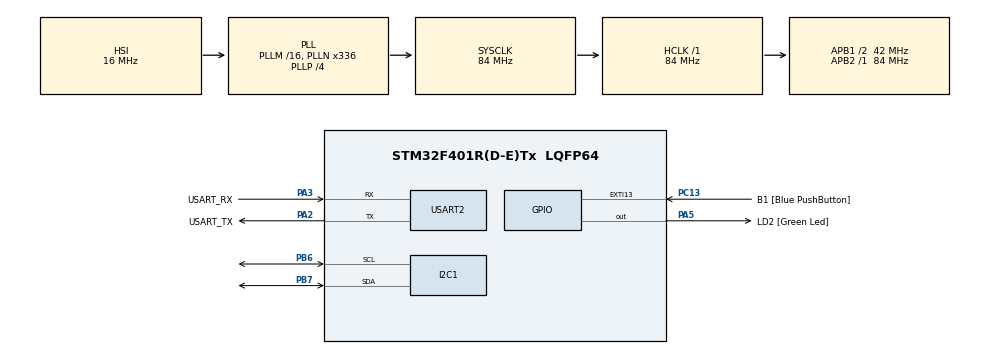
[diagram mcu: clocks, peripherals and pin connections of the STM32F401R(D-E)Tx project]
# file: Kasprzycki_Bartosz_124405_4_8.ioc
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Mcu.Family=STM32F4
Mcu.Name=STM32F401R(D-E)Tx
Mcu.Package=LQFP64
NVIC.EXTI15_10_IRQn=true\:0\:0\:false\:false\:true\:true\:true\:true
NVIC.I2C1_ER_IRQn=true\:0\:0\:false\:false\:true\:true\:true\:true
NVIC.I2C1_EV_IRQn=true\:0\:0\:false\:false\:true\:true\:true\:true
NVIC.PriorityGroup=NVIC_PRIORITYGROUP_4
NVIC.USART2_IRQn=true\:0\:0\:false\:false\:true\:true\:true\:true
PA13.GPIO_Label=TMS
PA13.Mode=Trace_Asynchronous_SW
PA13.Signal=SYS_JTMS-SWDIO
PA14.GPIO_Label=TCK
PA14.Mode=Trace_Asynchronous_SW
PA14.Signal=SYS_JTCK-SWCLK
PA2.GPIO_Label=USART_TX
PA2.GPIO_Mode=GPIO_MODE_AF_PP
PA2.GPIO_PuPd=GPIO_NOPULL
PA2.GPIO_Speed=GPIO_SPEED_FREQ_LOW
PA2.Mode=Asynchronous
PA2.Signal=USART2_TX
PA3.GPIO_Label=USART_RX
PA3.GPIO_Mode=GPIO_MODE_AF_PP
PA3.GPIO_PuPd=GPIO_NOPULL
PA3.GPIO_Speed=GPIO_SPEED_FREQ_LOW
PA3.Mode=Asynchronous
PA3.Signal=USART2_RX
PA5.GPIO_Label=LD2 [Green Led]
PA5.GPIO_Mode=GPIO_MODE_OUTPUT_PP
PA5.GPIO_PuPd=GPIO_NOPULL
PA5.GPIO_Speed=GPIO_SPEED_FREQ_LOW
PA5.Signal=GPIO_Output
PB3.GPIO_Label=SWO
PB3.Mode=Trace_Asynchronous_SW
PB3.Signal=SYS_JTDO-SWO
PB6.Mode=I2C
PB6.Signal=I2C1_SCL
PB7.Mode=I2C
PB7.Signal=I2C1_SDA
PC13-ANTI_TAMP.GPIO_Label=B1 [Blue PushButton]
PC13-ANTI_TAMP.GPIO_ModeDefaultEXTI=GPIO_MODE_IT_FALLING
PC13-ANTI_TAMP.GPIO_PuPd=GPIO_NOPULL
PC13-ANTI_TAMP.Signal=GPXTI13
PC14-OSC32_IN.Mode=LSE-External-Oscillator
PC14-OSC32_IN.Signal=RCC_OSC32_IN
PC15-OSC32_OUT.Mode=LSE-External-Oscillator
PC15-OSC32_OUT.Signal=RCC_OSC32_OUT
PH0\ -\ OSC_IN.Mode=HSE-External-Clock-Source
PH0\ -\ OSC_IN.Signal=RCC_OSC_IN
PH1\ -\ OSC_OUT.Mode=HSE-External-Clock-Source
PH1\ -\ OSC_OUT.Signal=RCC_OSC_OUT
ProjectManager.HeapSize=0x200
ProjectManager.StackSize=0x400
ProjectManager.TargetToolchain=STM32CubeIDE
RCC.48MHZClocksFreq_Value=48000000
RCC.AHBFreq_Value=84000000
RCC.APB1CLKDivider=RCC_HCLK_DIV2
RCC.APB1Freq_Value=42000000
RCC.APB1TimFreq_Value=84000000
RCC.APB2Freq_Value=84000000
RCC.APB2TimFreq_Value=84000000
RCC.CortexFreq_Value=84000000
RCC.HCLKFreq_Value=84000000
RCC.HSE_VALUE=8000000
RCC.HSI_VALUE=16000000
RCC.PLLN=336
RCC.PLLP=RCC_PLLP_DIV4
RCC.PLLQ=7
RCC.SYSCLKFreq_VALUE=84000000
RCC.SYSCLKSource=RCC_SYSCLKSOURCE_PLLCLK
RCC.VCOOutputFreq_Value=336000000
USART2.VirtualMode=VM_ASYNC
board=NUCLEO-F401RE

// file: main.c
/* USER CODE BEGIN Header */
/**
  ******************************************************************************
  * @file           : main.c
  * @brief          : Main program body
  ******************************************************************************
  */
/* USER CODE END Header */
#include "main.h"
#include "i2c.h"
#include "usart.h"
#include "gpio.h"

/* USER CODE BEGIN Includes */
#include <string.h>
#include <stdio.h>
#include <stdarg.h>
#include <stdlib.h>
#include <stdbool.h>
/* USER CODE END Includes */

/* USER CODE BEGIN PTD */

/* Struktura danych pomiarowych zgodna z dokumentacją */
typedef struct __attribute__((packed)){
	uint32_t seq_num;
	uint32_t timestamp;
	int16_t accel[3];
	int16_t gyro[3];
} MeasurementData;

/* Stany parsera protokołu */
typedef enum{
	STATE_WAIT_SOF,
	STATE_ADDR,
	STATE_CMD,
	STATE_DATA,
	STATE_CRC,
	STATE_WAIT_CR,
	STATE_WAIT_LF
} ParserState;

/* Stany inicjalizacji MPU6500 */
typedef enum {
    MPU_INIT_STATE_IDLE,
    MPU_INIT_STATE_START,
    MPU_INIT_STATE_WAIT_PWR,
    MPU_INIT_STATE_WAKEUP,
    MPU_INIT_STATE_WAIT_CONFIG,
    MPU_INIT_STATE_CONFIG,
    MPU_INIT_STATE_READY
} MPU_InitState;

typedef struct {
	ParserState state;
	char buffer[128];
	uint8_t index;
} ProtocolParser;

/* USER CODE END PTD */

/* USER CODE BEGIN PD */

#define MY_DEV_ID "ST"
#define HISTORY_SIZE 1000

/* Adresy rejestrów MPU6500 */
#define MPU_ADDR 0xD0
#define PWR_MGMT_1_REG 0x6B
#define ACCEL_CONFIG_REG 0x1C
#define GYRO_CONFIG_REG 0x1B

#define USART_TXBUF_LEN 1512
#define USART_RXBUF_LEN 128

/* USER CODE END PD */

/* USER CODE BEGIN PV */

/* Bufory UART */
uint8_t USART_TxBuf[USART_TXBUF_LEN];
uint8_t USART_RxBuf[USART_RXBUF_LEN];

__IO int USART_TX_Empty=0;
__IO int USART_TX_Busy=0;
__IO int USART_RX_Empty=0;
__IO int USART_RX_Busy=0;

/* Bufor cykliczny pomiarów  */
MeasurementData history_buffer[HISTORY_SIZE];
__IO uint32_t head_idx = 0;
uint32_t current_seq = 0;

/* Zmienne sterujące akwizycją */
bool acquisition_running = false;
uint32_t acquisition_interval = 1000; // Domyślnie 1000ms
uint32_t last_acq_time = 0;

char last_sender_id[3] = "PC";

/* Bufor na surowe dane z I2C (14 bajtów: Accel, Temp, Gyro) */
uint8_t mpu_raw_data[14];

ProtocolParser parser = {.state = STATE_WAIT_SOF, .index =0};

MPU_InitState mpu_init_state = MPU_INIT_STATE_START;
uint32_t mpu_timer = 0;

/* USER CODE END PV */

void SystemClock_Config(void);
/* USER CODE BEGIN PFP */

uint8_t MX_USART2_UART_kbhit(void);
int16_t MX_USART2_UART_getchar(void);
uint8_t MX_USART2_UART_getline(char *buf);
void MX_USART2_UART_fsend(char* format,...);

void MPU6500_Maintain(void);
void MPU6500_StartRead(void);

void ProcessCommand(char* frame,int len);
uint16_t CalcCRC16(const char* data, int len);
void HexToBin(const char* hex, uint8_t* bin, int len);
void BinToHex(const uint8_t* bin, char* hex, int len);
bool IsValidHex(const char* str, int len);
void SendResponse(const char* cmd_code, const char* payload);
void FSM_ProcessByte(uint8_t byte);

/* USER CODE END PFP */

/* USER CODE BEGIN 0 */

/* --- Implementacja UART (Ring Buffer) --- */

uint8_t MX_USART2_UART_kbhit(){
	if(USART_RX_Empty == USART_RX_Busy){
		return 0;
	}else{
		return 1;
	}
}

int16_t MX_USART2_UART_getchar(){
	int16_t temp;
	if(USART_RX_Empty != USART_RX_Busy){
		temp=USART_RxBuf[USART_RX_Busy];
		USART_RX_Busy++;
		if(USART_RX_Busy >= USART_RXBUF_LEN){
			USART_RX_Busy=0;
		}
		return temp;
	}else{
		return -1;
	}
}

uint8_t MX_USART2_UART_getline(char* buf){
	static uint8_t bf[128];
	static uint8_t idx=0;
	int i;
	uint8_t ret;

	while(MX_USART2_UART_kbhit()){
		bf[idx] = MX_USART2_UART_getchar();

		if(((bf[idx]=='\r')||(bf[idx]=='\n'))){
			bf[idx] = 0;
			for(i=0; i<=idx; i++){
				buf[i]=bf[i];
			}
			ret=idx;
			idx=0;
			return ret;
		}else{
			idx++;
			if(idx >=128) {
				idx=0;
			}
		}
	}
    return 0;
}

void MX_USART2_UART_fsend(char* format, ...){
	char tmp_rs[128];
	int i;
	__IO int idx;
	va_list arglist;
    va_start(arglist,format);
    vsprintf(tmp_rs,format,arglist);
    va_end(arglist);

    idx=USART_TX_Empty;
    for(i=0;i<strlen(tmp_rs);i++){
    	USART_TxBuf[idx]=tmp_rs[i];
    	idx++;
    	if(idx >= USART_TXBUF_LEN)idx=0;
    }

    __disable_irq();
    if((USART_TX_Empty==USART_TX_Busy)&&(__HAL_UART_GET_FLAG(&huart2,UART_FLAG_TXE)==SET)){
    	USART_TX_Empty=idx;
    	uint8_t tmp=USART_TxBuf[USART_TX_Busy];
    	USART_TX_Busy++;
    	if(USART_TX_Busy >= USART_TXBUF_LEN)USART_TX_Busy=0;
    	HAL_UART_Transmit_IT(&huart2, &tmp, 1);
    }else{
    	USART_TX_Empty=idx;
    }
    __enable_irq();
}

void HAL_UART_TxCpltCallback(UART_HandleTypeDef *huart){
	if(huart==&huart2){
		if(USART_TX_Empty!=USART_TX_Busy){
			uint8_t tmp=USART_TxBuf[USART_TX_Busy];

			USART_TX_Busy++;
			if(USART_TX_Busy >= USART_TXBUF_LEN) USART_TX_Busy=0;

            HAL_UART_Transmit_IT(&huart2, &tmp, 1);
        }
    }
}

void HAL_UART_RxCpltCallback(UART_HandleTypeDef *huart){
	if(huart==&huart2){
		USART_RX_Empty++;

		if(USART_RX_Empty>=USART_RXBUF_LEN) USART_RX_Empty=0;

		HAL_UART_Receive_IT(&huart2,&USART_RxBuf[USART_RX_Empty],1);
	}
}

/* --- Implementacja MPU6500 (Non-blocking I2C) --- */

/**
Maszyna stanów inicjalizacji MPU6500.
Wybudza układ i przygotowuje do pracy nie blokując CPU.
 */
void MPU6500_Maintain(void) {
    static uint8_t i2c_data = 0;

    switch (mpu_init_state) {
        case MPU_INIT_STATE_IDLE:
            break;

        case MPU_INIT_STATE_START:
            mpu_timer = HAL_GetTick();
            mpu_init_state = MPU_INIT_STATE_WAIT_PWR;
            break;

        case MPU_INIT_STATE_WAIT_PWR:
            // Czekaj 100ms na stabilizację zasilania
            if (HAL_GetTick() - mpu_timer > 100) {
                mpu_init_state = MPU_INIT_STATE_WAKEUP;
            }
            break;

        case MPU_INIT_STATE_WAKEUP:
            if (HAL_I2C_GetState(&hi2c1) == HAL_I2C_STATE_READY) {
                // Wybudzenie: PWR_MGMT_1 = 0x00
                i2c_data = 0x00;
                HAL_I2C_Mem_Write_IT(&hi2c1, MPU_ADDR, PWR_MGMT_1_REG, 1, &i2c_data, 1);
                mpu_timer = HAL_GetTick();
                mpu_init_state = MPU_INIT_STATE_WAIT_CONFIG;
            }
            break;

        case MPU_INIT_STATE_WAIT_CONFIG:
            // Czekaj 10ms po wybudzeniu
            if (HAL_GetTick() - mpu_timer > 10) {
                mpu_init_state = MPU_INIT_STATE_CONFIG;
            }
            break;

        case MPU_INIT_STATE_CONFIG:
             if (HAL_I2C_GetState(&hi2c1) == HAL_I2C_STATE_READY) {
                 mpu_init_state = MPU_INIT_STATE_READY;
             }
             break;

        case MPU_INIT_STATE_READY:
            // Urządzenie gotowe do pracy
            mpu_init_state = MPU_INIT_STATE_IDLE;
            break;
    }
}

void MPU6500_StartRead(void) {
	// Rozpocznij odczyt 14 bajtów od rejestru ACCEL_XOUT_H (0x3B)
    //  - Funkcje nie blokujące
	if (HAL_I2C_GetState(&hi2c1) == HAL_I2C_STATE_READY) {
		uint8_t reg = 0x3B;
		HAL_I2C_Mem_Read_IT(&hi2c1, MPU_ADDR, reg, 1, mpu_raw_data, 14);
	}
}

/* Callback wywoływany po zakończeniu transmisji I2C (odebranie danych) */
void HAL_I2C_MemRxCpltCallback(I2C_HandleTypeDef *hi2c){
	if (hi2c->Instance == I2C1){
		// Zapis do bufora cyklicznego
		MeasurementData *m = &history_buffer[head_idx];

		m->seq_num = current_seq++;
		m->timestamp = HAL_GetTick();

		// Konwersja surowych danych (Big Endian z czujnika na Little Endian CPU)
		m->accel[0] = (int16_t)((mpu_raw_data[0] << 8) | mpu_raw_data[1]);
		m->accel[1] = (int16_t)((mpu_raw_data[2] << 8) | mpu_raw_data[3]);
		m->accel[2] = (int16_t)((mpu_raw_data[4] << 8) | mpu_raw_data[5]);

		m->gyro[0] = (int16_t)((mpu_raw_data[8] << 8) | mpu_raw_data[9]);
		m->gyro[1] = (int16_t)((mpu_raw_data[10] << 8) | mpu_raw_data[11]);
		m->gyro[2] = (int16_t)((mpu_raw_data[12] << 8) | mpu_raw_data[13]);

		head_idx++;
		if (head_idx >= HISTORY_SIZE) {
			head_idx = 0;
		}
	}
}

/* --- Logika Protokołu --- */

void FSM_ProcessByte(uint8_t byte){
	if (parser.index >= 127){
		parser.state = STATE_WAIT_SOF;
		parser.index = 0;
	}

	if (byte == '$'){
		parser.index = 0;
		parser.buffer[parser.index++] = byte;
		parser.state = STATE_ADDR;
        return;
	}

	switch (parser.state){
		case STATE_WAIT_SOF:
			break;

		case STATE_ADDR:
			parser.buffer[parser.index++] =  byte;
			if (parser.index == 5){
				parser.state = STATE_CMD;
			}
			break;

		case STATE_CMD:
			parser.buffer[parser.index++] =  byte;
			if (parser.index == 7){
				parser.state = STATE_DATA;
			}
			break;

		case STATE_DATA:
			parser.buffer[parser.index++] =  byte;
			if (byte == ':'){
				parser.state = STATE_CRC;
			}
			break;

		case STATE_CRC:
			parser.buffer[parser.index++] = byte;
			// CRC ma zawsze 4 znaki Hex
			if(parser.index >= 5 && parser.buffer[parser.index - 5]==':'){
				parser.state = STATE_WAIT_CR;
			}
			break;

		case STATE_WAIT_CR:
			if (byte == '\r'){
				parser.state = STATE_WAIT_LF;
			} else {
				parser.state = STATE_WAIT_SOF;
			}
			break;

		case STATE_WAIT_LF:
			if(byte == '\n'){
				parser.buffer[parser.index] = '\0';
				ProcessCommand(parser.buffer, parser.index);
				parser.state = STATE_WAIT_SOF;
				parser.index = 0;
			} else{
				parser.state = STATE_WAIT_SOF;
			}
			break;

		default:
			parser.state = STATE_WAIT_SOF;
			break;

	}
}

/* Helpers */
bool IsValidHex(const char* str, int len) {
    for (int i = 0; i < len; i++) {
        char c = str[i];
        bool isDigit = (c >= '0' && c <= '9');
        bool isLetter = (c >= 'A' && c <= 'F');
        if (!(isDigit || isLetter)) {
        	return false;
        }
    }
    return true;
}

uint16_t CalcCRC16(const char* data, int len){
    // CRC-16-CCITT False, Poly 0x1021, Init 0xFFFF
	uint16_t crc = 0xFFFF;
	for (int i = 0; i < len; i++){
		crc ^= (uint16_t)data[i] << 8;
		for (int j = 0; j < 8; j++){
			if (crc & 0x8000) crc = (crc << 1) ^ 0x1021;
			else crc <<=1;
		}
	}
	return crc;
}

void HexToBin(const char* hex, uint8_t* bin, int len){
	char temp[3] = {0};
	for(int i=0; i<len; i++){
		temp[0] = hex[i*2];
		temp[1] = hex[i*2+1];
		bin[i] = (uint8_t)strtol(temp,NULL,16);
	}
}

void BinToHex(const uint8_t* bin,char* hex , int len){
	for(int i=0; i<len; i++){
		sprintf(hex + (i*2), "%02X",bin[i]);
	}
}

void SendResponse(const char* cmd_code, const char* payload){
	char frame_buf[128];
	sprintf(frame_buf, "$%s%s%s%s", MY_DEV_ID, last_sender_id, cmd_code, payload ? payload : "");

	// Oblicz CRC od pierwszego znaku po $ do : włącznie
	uint16_t crc = CalcCRC16(&frame_buf[1], strlen(&frame_buf[1]));

	uint8_t crc_bytes[2] = {crc & 0xFF, (crc >> 8) & 0xFF}; // Little Endian CRC
	char crc_str[5];
	BinToHex(crc_bytes, crc_str, 2);

	MX_USART2_UART_fsend("%s:%s\r\n", frame_buf, crc_str);
}

void ProcessCommand(char* frame, int len){
	// Weryfikacja podstawowa
	if (len < 12) return;
	if(frame[0] != '$') return;

	// Sprawdzenie czy adresat to ST
	if(strncmp(&frame[3], MY_DEV_ID,2) != 0){
		return;
	}

	// Zapisz ID nadawcy (do odpowiedzi)
	last_sender_id[0]=frame[1];
	last_sender_id[1]=frame[2];
	last_sender_id[2]='\0';

	// Znajdź separator CRC
	char* sep_ptr = strchr(frame, ':');
	if (sep_ptr == NULL) return;

	// Weryfikacja CRC
	uint16_t calced_crc = CalcCRC16(&frame[1], (sep_ptr - &frame[1]) + 1);

	char crc_str_rec[5];
	strncpy(crc_str_rec, sep_ptr + 1, 4);
	crc_str_rec[4] = 0;

	uint8_t crc_bytes[2];
	HexToBin(crc_str_rec, crc_bytes, 2);
	uint16_t recived_crc = (uint16_t)crc_bytes[0] | ((uint16_t)crc_bytes[1] << 8);

	if (calced_crc != recived_crc){
		SendResponse("E1", "01"); // ERR CRC
		return;
	}

	// Ekstrakcja komendy
	char cmd_str[3];
	strncpy(cmd_str,&frame[5],2);
	cmd_str[2]=0;

	if(!IsValidHex(cmd_str, 2)){
		SendResponse("E1", "02"); // ERR UNKNOWN
		return;
	}

	uint8_t cmd = (uint8_t)strtol(cmd_str,NULL,16);
	char * data_ptr = &frame[7]; // Dane zaczynają się po komendzie

	/* Obsługa komend zgodnie z tabelą */
	switch (cmd) {
		case 0x00: // SYS_PING
			SendResponse("E0", "00");
			break;

		case 0x01: // SYS_RESET
			SendResponse("E0", "01");
			while(__HAL_UART_GET_FLAG(&huart2, UART_FLAG_TC) == RESET) {}
			HAL_NVIC_SystemReset();
			break;

		case 0x02: // SYS_STATUS
        {
			uint32_t temp_status = 0;
            char temp_hex[9];

			if (HAL_I2C_GetError(&hi2c1) != HAL_I2C_ERROR_NONE) {
				temp_status |= 0x04; // ERR I2C mapping to bit
			}
			if (__HAL_UART_GET_FLAG(&huart2, UART_FLAG_ORE)) {
				temp_status |= 0x02;
				__HAL_UART_CLEAR_OREFLAG(&huart2);
			}

			BinToHex((uint8_t*)&temp_status, temp_hex, 4);
			SendResponse("E0", temp_hex);
			break;
        }

		case 0x10: // ACQ_SET_INT
        {
			uint8_t time_bytes[4];
			HexToBin(data_ptr, time_bytes, 4);
			// Little Endian [cite: 21]
			uint32_t new_interval = time_bytes[0] | (time_bytes[1] << 8) | (time_bytes[2] << 16) | (time_bytes[3] << 24);
			if (new_interval == 0 ) {
				SendResponse("E1", "03"); // ERR PARAM
			} else{
				acquisition_interval = new_interval;
				SendResponse("E0", "10");
			}
			break;
        }

		case 0x11: // ACQ_GET_INT
        {
			char time_hex[9];
			BinToHex((uint8_t*)&acquisition_interval, time_hex, 4);
			char payload[12];
			sprintf(payload ,"11%s", time_hex); // Zwraca CMD_ID + TIME
			SendResponse("E0", payload);
			break;
        }

		case 0x12: // ACQ_START
			acquisition_running = true;
			SendResponse("E0", "12");
			break;

		case 0x13: // ACQ_STOP
			acquisition_running = false;
			SendResponse("E0", "13");
			break;

		case 0x20: // DAT_GET_CUR
        {
			MeasurementData snapshot;
			__disable_irq(); // Sekcja krytyczna dla odczytu bufora
            uint32_t current_idx = head_idx;
            if(current_idx == 0) current_idx = HISTORY_SIZE - 1;
            else current_idx--;
			snapshot = history_buffer[current_idx];
			__enable_irq();

			char data_hex[41];
			BinToHex((uint8_t*)&snapshot, data_hex, 20); // 20 bajtów struktury
			SendResponse("E2", data_hex);
			break;
        }

		case 0x21: // DAT_GET_ARC
        {
			uint8_t idx_bytes[4];
			HexToBin(data_ptr, idx_bytes, 4);
			uint32_t req_seq = idx_bytes[0] | (idx_bytes[1]<<8) | (idx_bytes[2]<<16) | (idx_bytes[3]<<24);

			MeasurementData snapshot;
			bool found = false;

			// Proste przeszukiwanie bufora (wystarczające dla 1000 elementów)
			for(int i=0; i<HISTORY_SIZE; i++){
				if(history_buffer[i].seq_num == req_seq){
					snapshot = history_buffer[i];
					found = true;
                    break;
				}
			}

			if (found) {
				char data_hex[41];
				BinToHex((uint8_t*)&snapshot, data_hex, 20);
				SendResponse("E2", data_hex);
			} else {
				SendResponse("E1", "05"); // ERR OVERWRITTEN [cite: 44]
			}
			break;
        }

		default:
			SendResponse("E1", "02"); // ERR UNKNOWN
			break;
	}
}
/* USER CODE END 0 */

int main(void)
{

  /* MCU Configuration--------------------------------------------------------*/

  /* Reset of all peripherals, Initializes the Flash interface and the Systick. */
  HAL_Init();

  /* Configure the system clock */
  SystemClock_Config();

  /* Initialize all configured peripherals */
  MX_GPIO_Init();
  MX_USART2_UART_Init();
  MX_I2C1_Init();
  /* USER CODE BEGIN 2 */

  // Uruchomienie odbioru UART w trybie przerwań
  HAL_UART_Receive_IT(&huart2, &USART_RxBuf[0], 1);

  // Inicjalizacja stanu MPU
  mpu_init_state = MPU_INIT_STATE_START;

  // Inicjalizacja czasu ostatniej akwizycji
  last_acq_time = HAL_GetTick();

  /* USER CODE END 2 */

  /* Infinite loop */
  /* USER CODE BEGIN WHILE */
  while (1)
  {
      /* 1. Obsługa Komunikacji UART (Odbiór i Parsowanie) */
	  if (MX_USART2_UART_kbhit()) {
            int16_t c = MX_USART2_UART_getchar();
            if (c != -1) {
                // Przekazanie znaku do maszyny stanów parsującej ramkę
                FSM_ProcessByte((uint8_t)c);
            }
	  }

      /* 2. Obsługa MPU6500 (Inicjalizacja i utrzymanie) */
      MPU6500_Maintain();

      /* 3. Obsługa Akwizycji Danych (Cykliczna)  */
      if (acquisition_running && (mpu_init_state == MPU_INIT_STATE_IDLE)) {
          if (HAL_GetTick() - last_acq_time >= acquisition_interval) {
              last_acq_time = HAL_GetTick();
              MPU6500_StartRead();
          }
      }

    /* USER CODE END WHILE */

  }
}

void SystemClock_Config(void)
{
  RCC_OscInitTypeDef RCC_OscInitStruct = {0};
  RCC_ClkInitTypeDef RCC_ClkInitStruct = {0};

  /** Configure the main internal regulator output voltage
  */
  __HAL_RCC_PWR_CLK_ENABLE();
  __HAL_PWR_VOLTAGESCALING_CONFIG(PWR_REGULATOR_VOLTAGE_SCALE2);

  /** Initializes the RCC Oscillators according to the specified parameters
  * in the RCC_OscInitTypeDef structure.
  */
  RCC_OscInitStruct.OscillatorType = RCC_OSCILLATORTYPE_HSI;
  RCC_OscInitStruct.HSIState = RCC_HSI_ON;
  RCC_OscInitStruct.HSICalibrationValue = RCC_HSICALIBRATION_DEFAULT;
  RCC_OscInitStruct.PLL.PLLState = RCC_PLL_ON;
  RCC_OscInitStruct.PLL.PLLSource = RCC_PLLSOURCE_HSI;
  RCC_OscInitStruct.PLL.PLLM = 16;
  RCC_OscInitStruct.PLL.PLLN = 336;
  RCC_OscInitStruct.PLL.PLLP = RCC_PLLP_DIV4;
  RCC_OscInitStruct.PLL.PLLQ = 7;
  if (HAL_RCC_OscConfig(&RCC_OscInitStruct) != HAL_OK)
  {
    Error_Handler();
  }

  /** Initializes the CPU, AHB and APB buses clocks
  */
  RCC_ClkInitStruct.ClockType = RCC_CLOCKTYPE_HCLK|RCC_CLOCKTYPE_SYSCLK
                              |RCC_CLOCKTYPE_PCLK1|RCC_CLOCKTYPE_PCLK2;
  RCC_ClkInitStruct.SYSCLKSource = RCC_SYSCLKSOURCE_PLLCLK;
  RCC_ClkInitStruct.AHBCLKDivider = RCC_SYSCLK_DIV1;
  RCC_ClkInitStruct.APB1CLKDivider = RCC_HCLK_DIV2;
  RCC_ClkInitStruct.APB2CLKDivider = RCC_HCLK_DIV1;

  if (HAL_RCC_ClockConfig(&RCC_ClkInitStruct, FLASH_LATENCY_2) != HAL_OK)
  {
    Error_Handler();
  }
}

void Error_Handler(void)
{
  __disable_irq();
  while (1)
  {
  }
}
